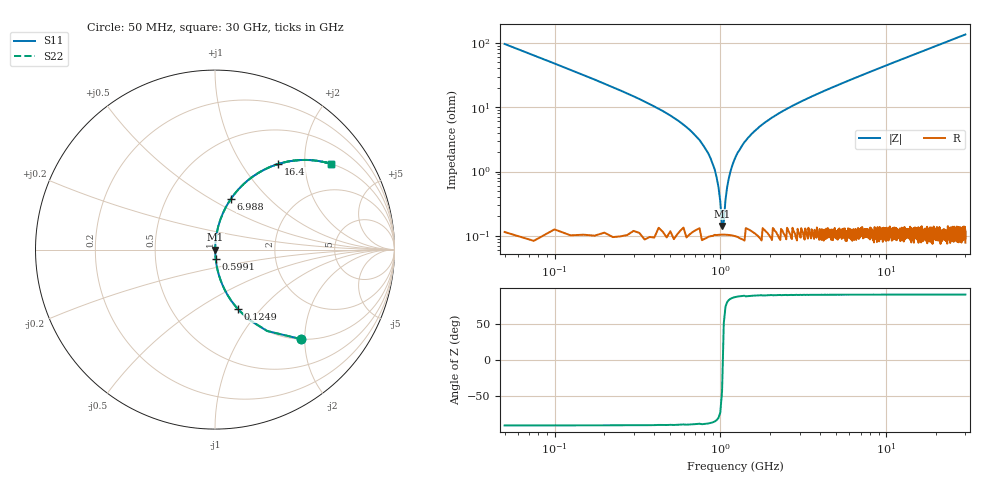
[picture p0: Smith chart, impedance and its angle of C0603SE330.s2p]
!	AVX Thin Film Operation 	Date: April 2014
!	Description: Accu-P® Series, Thin Film  SMD RF Capacitor
!	Part Number: 06033K330FBSTR
# MHZ S MA R 50
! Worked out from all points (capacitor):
!   1201 points, 50 MHz to 30 GHz, reference 50 ohm
!   read as one part in series: C = 33 pF near 199.8 MHz
!   lowest |Z| = 143 mohm at 1.023 GHz (marker M1)
!   series resonance near 1.034 GHz, so ESL is about 720 pH
!   S11 on the Smith chart (normalised r, x): 50 MHz: 1.00, -1.92; 124.9 MHz: 1.00, -0.76; 599.1 MHz: 1.00, -0.11; 6.988 GHz: 1.00, +0.62; 16.4 GHz: 1.00, +1.47; 30 GHz: 1.00, +2.70
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50  0.693 -46.1  0.72 43.9  0.72 43.9  0.693 -46.1
124.875  0.355 -69.0  0.934 20.8  0.934 20.8  0.355 -69.0
274.625  0.161 -80.4  0.986 9.3  0.986 9.3  0.161 -80.4
599.083  0.053 -85.8  0.997 3.1  0.997 3.1  0.053 -85.8
798.75  0.024 -86.0  0.999 1.4  0.999 1.4  0.024 -86.0
923.542  0.011 -83.5  0.999 0.6  0.999 0.6  0.011 -83.5
1023.375  0.001459 -41.7  0.999 0.1  0.999 0.1  0.001459 -41.7
1098.25  0.005717 78.7  0.999 -0.3  0.999 -0.3  0.005717 78.7
1148.167  0.009828 83.1  0.999 -0.6  0.999 -0.6  0.009828 83.1
1248  0.018 85.5  0.999 -1.0  0.999 -1.0  0.018 85.5
1397.75  0.029 86.2  0.999 -1.6  0.999 -1.6  0.029 86.2
1622.375  0.043 86.1  0.998 -2.5  0.998 -2.5  0.043 86.1
1971.792  0.064 85.3  0.997 -3.7  0.997 -3.7  0.064 85.3
3094.917  0.123 82.4  0.991 -7.1  0.991 -7.1  0.123 82.4
5041.667  0.213 77.4  0.976 -12.3  0.976 -12.3  0.213 77.4
6988.417  0.294 72.7  0.955 -17.1  0.955 -17.1  0.294 72.7
10058.29  0.409 65.7  0.911 -24.1  0.911 -24.1  0.409 65.7
15025  0.559 55.9  0.828 -34.0  0.828 -34.0  0.559 55.9
16397.71  0.593 53.6  0.805 -36.3  0.805 -36.3  0.593 53.6
20016.67  0.669 48.0  0.743 -42.0  0.743 -42.0  0.669 48.0
25033.29  0.748 41.6  0.663 -48.4  0.663 -48.4  0.748 41.6
30000  0.804 36.5  0.595 -53.5  0.595 -53.5  0.804 36.5
